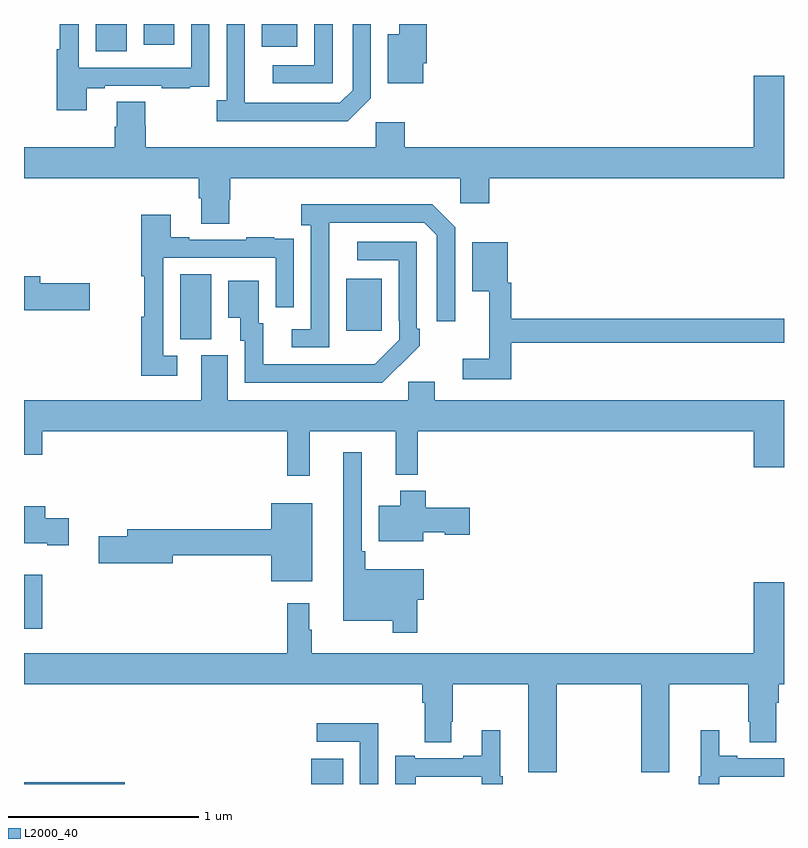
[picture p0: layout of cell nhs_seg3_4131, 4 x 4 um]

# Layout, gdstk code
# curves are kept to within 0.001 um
import gdstk
lib = gdstk.Library(unit=1e-6, precision=1e-09)
def R(c, l, rs):  # rectangles x0, y0, x1, y1
    for r in rs: c.add(gdstk.rectangle(r[:2], r[2:], *l))
def P(c, l, *ps):  # polygons
    for p in ps: c.add(gdstk.Polygon(p, *l))
L2000_40 = (2000, 40)

nhs_seg3_4131 = lib.new_cell('nhs_seg3_4131')
R(nhs_seg3_4131, L2000_40, [(329,692.4,329.53,692.408), (330.512,692.4,330.679,692.533), (329,693.216,329.096,693.502), (329.822,694.741,329.986,695.084), (330.695,694.785,330.883,695.059), (329.378,696.256,329.542,696.4), (330.251,696.281,330.439,696.4), (329.63,696.291,329.791,696.4)])
P(nhs_seg3_4131, L2000_40, [(330.825,696.009),(330.825,696.4),(330.729,696.4),(330.729,696.051),(330.663,695.985),(330.163,695.985),(330.162,696.4),(330.066,696.4),(330.066,695.998),(330.015,695.998),(330.015,695.888),(330.704,695.888)],
  [(329.329,696.063),(329.425,696.063),(329.425,696.075),(329.725,696.075),(329.725,696.063),(329.873,696.063),(329.873,696.069),(329.975,696.069),(329.975,696.178),(329.976,696.178),(329.976,696.4),(329.88,696.4),(329.88,696.171),(329.289,696.171),(329.289,696.4),(329.188,696.4),(329.188,696.268),(329.173,696.268),(329.173,695.946),(329.329,695.946)],
  [(330.624,696.4),(330.528,696.4),(330.528,696.183),(330.309,696.183),(330.309,696.087),(330.624,696.087)],
  [(331.102,696.193),(331.121,696.193),(331.121,696.4),(330.974,696.4),(330.974,696.346),(330.914,696.346),(330.914,696.089),(331.102,696.089)],
  [(330.081,695.475),(330.086,695.475),(330.086,695.588),(331.296,695.588),(331.296,695.457),(331.448,695.457),(331.448,695.588),(333,695.588),(333,696.127),(332.84,696.127),(332.84,695.752),(331.004,695.752),(331.004,695.884),(330.852,695.884),(330.852,695.752),(329.642,695.752),(329.642,695.865),(329.637,695.865),(329.637,695.99),(329.489,695.99),(329.489,695.858),(329.477,695.858),(329.477,695.752),(329,695.752),(329,695.588),(329.921,695.588),(329.921,695.482),(329.933,695.482),(329.933,695.35),(330.081,695.35)],
  [(330.606,695.155),(330.607,695.355),(331.107,695.355),(331.173,695.289),(331.173,694.836),(331.269,694.836),(331.269,695.331),(331.148,695.452),(330.459,695.452),(330.459,695.342),(330.51,695.342),(330.51,694.794),(330.408,694.794),(330.408,694.698),(330.606,694.698)],
  [(329.806,694.653),(329.733,694.653),(329.733,695.169),(330.324,695.169),(330.324,694.908),(330.42,694.908),(330.42,695.162),(330.419,695.162),(330.419,695.271),(330.317,695.271),(330.317,695.278),(330.169,695.278),(330.169,695.265),(329.869,695.265),(329.869,695.278),(329.773,695.278),(329.773,695.395),(329.617,695.395),(329.617,695.072),(329.632,695.072),(329.632,694.86),(329.617,694.86),(329.617,694.548),(329.806,694.548)],
  [(330.977,694.603),(330.978,694.602),(331.083,694.707),(331.083,694.795),(331.068,694.795),(331.068,695.253),(330.753,695.253),(330.753,695.157),(330.972,695.157),(330.972,694.837),(330.975,694.837),(330.975,694.737),(330.847,694.609),(330.259,694.608),(330.259,694.824),(330.235,694.824),(330.235,695.05),(330.074,695.05),(330.074,694.853),(330.137,694.853),(330.137,694.734),(330.162,694.734),(330.162,694.512),(330.886,694.512)],
  [(331.565,694.722),(333,694.722),(333,694.85),(331.565,694.85),(331.565,695.037),(331.546,695.037),(331.546,695.251),(331.358,695.251),(331.358,694.994),(331.448,694.994),(331.448,694.639),(331.308,694.639),(331.308,694.53),(331.565,694.53)],
  [(329.347,695.036),(329.086,695.036),(329.086,695.072),(329,695.072),(329,694.894),(329.347,694.894)],
  [(330.503,694.256),(330.956,694.256),(330.956,694.028),(331.073,694.028),(331.073,694.256),(332.84,694.256),(332.84,694.068),(333,694.068),(333,694.42),(331.162,694.42),(331.162,694.518),(331.023,694.518),(331.023,694.42),(330.073,694.42),(330.073,694.656),(329.933,694.656),(329.933,694.42),(329,694.42),(329,694.132),(329.096,694.132),(329.096,694.256),(330.385,694.256),(330.385,694.023),(330.503,694.023)],
  [(331.07,693.371),(331.105,693.371),(331.105,693.529),(330.797,693.529),(330.797,693.625),(330.777,693.625),(330.777,694.147),(330.68,694.147),(330.68,693.26),(330.942,693.26),(330.942,693.195),(331.07,693.195)],
  [(331.102,693.725),(331.215,693.725),(331.215,693.713),(331.345,693.713),(331.345,693.855),(331.115,693.855),(331.115,693.943),(330.98,693.943),(330.98,693.865),(330.866,693.865),(330.866,693.677),(331.102,693.677)],
  [(330.517,693.877),(330.302,693.877),(330.302,693.74),(329.543,693.74),(329.543,693.704),(329.394,693.704),(329.394,693.562),(329.782,693.562),(329.782,693.604),(330.302,693.604),(330.302,693.467),(330.517,693.467)],
  [(329.236,693.798),(329.111,693.798),(329.111,693.862),(329,693.862),(329,693.668),(329.123,693.668),(329.123,693.656),(329.236,693.656)],
  [(331.803,692.924),(332.248,692.924),(332.248,692.463),(332.395,692.463),(332.395,692.924),(332.812,692.924),(332.812,692.728),(332.819,692.728),(332.819,692.62),(332.959,692.62),(332.959,692.828),(332.972,692.828),(332.972,692.924),(333,692.924),(333,693.463),(332.84,693.463),(332.84,693.088),(330.514,693.088),(330.514,693.212),(330.502,693.212),(330.502,693.352),(330.385,693.352),(330.385,693.088),(329,693.088),(329,692.924),(331.097,692.924),(331.097,692.828),(331.109,692.828),(331.109,692.62),(331.249,692.62),(331.249,692.728),(331.257,692.728),(331.257,692.924),(331.655,692.924),(331.655,692.463),(331.803,692.463)],
  [(330.864,692.72),(330.54,692.72),(330.54,692.622),(330.768,692.622),(330.768,692.4),(330.864,692.4)],
  [(331.063,692.439),(331.41,692.439),(331.41,692.4),(331.519,692.4),(331.519,692.442),(331.507,692.442),(331.507,692.683),(331.409,692.683),(331.409,692.548),(331.313,692.548),(331.313,692.535),(331.057,692.535),(331.057,692.548),(330.953,692.548),(330.953,692.4),(331.063,692.4)],
  [(332.658,692.439),(333,692.439),(333,692.535),(332.755,692.535),(332.755,692.548),(332.659,692.548),(332.659,692.683),(332.561,692.683),(332.561,692.442),(332.55,692.442),(332.55,692.4),(332.658,692.4)])

lib.write_gds('nhs_seg3_4131.gds')
